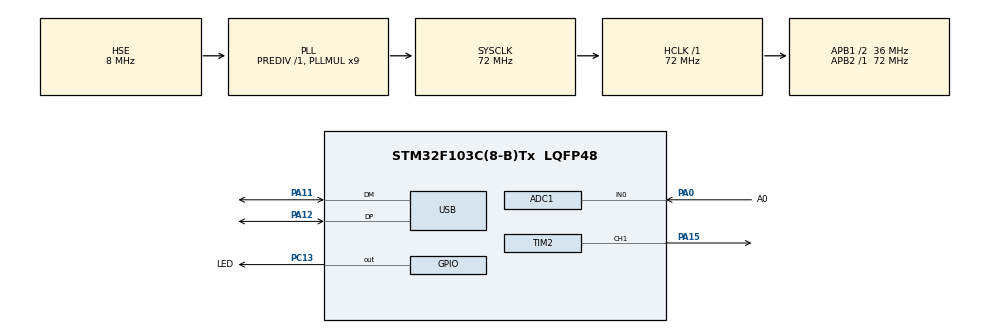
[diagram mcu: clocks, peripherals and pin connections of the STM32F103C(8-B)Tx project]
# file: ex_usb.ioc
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ADC1.Channel-0\#ChannelRegularConversion=ADC_CHANNEL_0
ADC1.NbrOfConversionFlag=1
ADC1.Rank-0\#ChannelRegularConversion=1
ADC1.SamplingTime-0\#ChannelRegularConversion=ADC_SAMPLETIME_1CYCLE_5
ADC1.master=1
Mcu.Family=STM32F1
Mcu.Name=STM32F103C(8-B)Tx
Mcu.Package=LQFP48
NVIC.PriorityGroup=NVIC_PRIORITYGROUP_4
NVIC.TIM3_IRQn=true\:0\:0\:false\:false\:true\:true\:true
NVIC.USB_LP_CAN1_RX0_IRQn=true\:0\:0\:false\:false\:true\:false\:true
PA0-WKUP.GPIO_Label=A0
PA0-WKUP.Signal=ADCx_IN0
PA11.Mode=Device
PA11.Signal=USB_DM
PA12.Mode=Device
PA12.Signal=USB_DP
PA13.Mode=Serial_Wire
PA13.Signal=SYS_JTMS-SWDIO
PA14.Mode=Serial_Wire
PA14.Signal=SYS_JTCK-SWCLK
PA15.Signal=S_TIM2_CH1_ETR
PC13-TAMPER-RTC.GPIO_Label=LED
PC13-TAMPER-RTC.Signal=GPIO_Output
PD0-OSC_IN.Mode=HSE-External-Oscillator
PD0-OSC_IN.Signal=RCC_OSC_IN
PD1-OSC_OUT.Mode=HSE-External-Oscillator
PD1-OSC_OUT.Signal=RCC_OSC_OUT
ProjectManager.HeapSize=0x200
ProjectManager.StackSize=0x400
ProjectManager.TargetToolchain=TrueSTUDIO
RCC.ADCPresc=RCC_ADCPCLK2_DIV6
RCC.AHBFreq_Value=72000000
RCC.APB1CLKDivider=RCC_HCLK_DIV2
RCC.APB1Freq_Value=36000000
RCC.APB1TimFreq_Value=72000000
RCC.APB2Freq_Value=72000000
RCC.APB2TimFreq_Value=72000000
RCC.HCLKFreq_Value=72000000
RCC.PLLMUL=RCC_PLL_MUL9
RCC.SYSCLKFreq_VALUE=72000000
RCC.SYSCLKSource=RCC_SYSCLKSOURCE_PLLCLK
RCC.USBFreq_Value=48000000
RCC.USBPrescaler=RCC_USBCLKSOURCE_PLL_DIV1_5
SH.ADCx_IN0.0=ADC1_IN0,IN0
SH.S_TIM2_CH1_ETR.0=TIM2_CH1,PWM Generation1 CH1
TIM2.Channel-PWM\ Generation1\ CH1=TIM_CHANNEL_1
TIM2.Period=9999
TIM2.Prescaler=71
TIM2.Pulse-PWM\ Generation1\ CH1=5000
TIM3.Period=9999
TIM3.Prescaler=71
USB_DEVICE.APP_RX_DATA_SIZE=1000
USB_DEVICE.APP_TX_DATA_SIZE=1000
USB_DEVICE.CLASS_NAME_FS=CDC
USB_DEVICE.VirtualMode=Cdc
USB_DEVICE.VirtualModeFS=Cdc_FS
VP_TIM2_VS_ClockSourceINT.Mode=Internal
VP_TIM3_VS_ClockSourceINT.Mode=Internal
VP_USB_DEVICE_VS_USB_DEVICE_CDC_FS.Mode=CDC_FS
board=ex_usb

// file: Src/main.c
/**
  ******************************************************************************
  * File Name          : main.c
  * Description        : Main program body
  ******************************************************************************
  * This notice applies to any and all portions of this file
  * that are not between comment pairs USER CODE BEGIN and
  * USER CODE END. Other portions of this file, whether
  * inserted by the user or by software development tools
  * are owned by their respective copyright owners.
  *
  * Copyright (c) 2019 STMicroelectronics International N.V.
  * All rights reserved.
  *
  * Redistribution and use in source and binary forms, with or without
  * modification, are permitted, provided that the following conditions are met:
  *
  * 1. Redistribution of source code must retain the above copyright notice,
  *    this list of conditions and the following disclaimer.
  * 2. Redistributions in binary form must reproduce the above copyright notice,
  *    this list of conditions and the following disclaimer in the documentation
  *    and/or other materials provided with the distribution.
  * 3. Neither the name of STMicroelectronics nor the names of other
  *    contributors to this software may be used to endorse or promote products
  *    derived from this software without specific written permission.
  * 4. This software, including modifications and/or derivative works of this
  *    software, must execute solely and exclusively on microcontroller or
  *    microprocessor devices manufactured by or for STMicroelectronics.
  * 5. Redistribution and use of this software other than as permitted under
  *    this license is void and will automatically terminate your rights under
  *    this license.
  *
  * THIS SOFTWARE IS PROVIDED BY STMICROELECTRONICS AND CONTRIBUTORS "AS IS"
  * AND ANY EXPRESS, IMPLIED OR STATUTORY WARRANTIES, INCLUDING, BUT NOT
  * LIMITED TO, THE IMPLIED WARRANTIES OF MERCHANTABILITY, FITNESS FOR A
  * PARTICULAR PURPOSE AND NON-INFRINGEMENT OF THIRD PARTY INTELLECTUAL PROPERTY
  * RIGHTS ARE DISCLAIMED TO THE FULLEST EXTENT PERMITTED BY LAW. IN NO EVENT
  * SHALL STMICROELECTRONICS OR CONTRIBUTORS BE LIABLE FOR ANY DIRECT, INDIRECT,
  * INCIDENTAL, SPECIAL, EXEMPLARY, OR CONSEQUENTIAL DAMAGES (INCLUDING, BUT NOT
  * LIMITED TO, PROCUREMENT OF SUBSTITUTE GOODS OR SERVICES; LOSS OF USE, DATA,
  * OR PROFITS; OR BUSINESS INTERRUPTION) HOWEVER CAUSED AND ON ANY THEORY OF
  * LIABILITY, WHETHER IN CONTRACT, STRICT LIABILITY, OR TORT (INCLUDING
  * NEGLIGENCE OR OTHERWISE) ARISING IN ANY WAY OUT OF THE USE OF THIS SOFTWARE,
  * EVEN IF ADVISED OF THE POSSIBILITY OF SUCH DAMAGE.
  *
  ******************************************************************************
  */

#include "main.h"
#include "stm32f1xx_hal.h"
#include "usb_device.h"

/* USER CODE BEGIN Includes */
//library required for handling the functions related to operations of
//writing to and reading from the USB
#include "usbd_cdc_if.h"
/* USER CODE END Includes */

ADC_HandleTypeDef hadc1;

TIM_HandleTypeDef htim2;
TIM_HandleTypeDef htim3;

/* USER CODE BEGIN PV */

/* Private variables ---------------------------------------------------------*/
float prevDC = 0; //variable that stores the previous duty cycle value
uint16_t adcValue = 0;
uint8_t ledFlag = 0;
/* USER CODE END PV */

void SystemClock_Config(void);
static void MX_GPIO_Init(void);
static void MX_ADC1_Init(void);
static void MX_TIM2_Init(void);
static void MX_TIM3_Init(void);

void HAL_TIM_MspPostInit(TIM_HandleTypeDef *htim);

/* USER CODE BEGIN PFP */
//void read_adc()
//{
//	if(ledFlag == 0)
//	{
//		HAL_GPIO_WritePin(LED_GPIO_Port, LED_Pin, GPIO_PIN_RESET);
//		ledFlag = 1;
//	}
//	else
//	{
//		HAL_GPIO_WritePin(LED_GPIO_Port, LED_Pin, GPIO_PIN_SET);
//		ledFlag = 0;
//	}
//	//this function is called whenever there is an interrupt fired by TIMER3
//	//reading the potentiometer
//	HAL_ADC_Start(&hadc1);
//	if(HAL_ADC_PollForConversion(&hadc1,10) == HAL_OK)
//	{
//		adcValue = HAL_ADC_GetValue(&hadc1);
//	}
//	//convert the output of the potentiometer to the duty cycle
//	float percent = (adcValue / 4096.0); // percent
//	uint16_t dutyCycle = (uint16_t)(percent * 10000); // 10000 -> counter period
//	//configure the pwm again
//	// the duty is updated only if the current value of dutycycle
//	//varies more then 10%
//	if(percent >- prevDC + 0.1 || percent <= prevDC - 0.1)
//	{
//		  HAL_TIM_PWM_Stop(&htim2, TIM_CHANNEL_1); //stops the pwm
//
//		  TIM_OC_InitTypeDef sConfigOC = {0};
//		  sConfigOC.OCMode = TIM_OCMODE_PWM1;
//		  sConfigOC.Pulse = dutyCycle; //set the dute cycle based in pwm
//		  sConfigOC.OCPolarity = TIM_OCPOLARITY_HIGH;
//		  sConfigOC.OCFastMode = TIM_OCFAST_DISABLE;
//
//
//		 if (HAL_TIM_PWM_ConfigChannel(&htim2, &sConfigOC, TIM_CHANNEL_1) != HAL_OK)
//		 {
//		    _Error_Handler(__FILE__, __LINE__);
//		 }
//
//		 HAL_TIM_PWM_Start(&htim2, TIM_CHANNEL_1);
//	}
//}
/* Private function prototypes -----------------------------------------------*/

/* USER CODE END PFP */

int main(void)
{

  /* MCU Configuration----------------------------------------------------------*/

  /* Reset of all peripherals, Initializes the Flash interface and the Systick. */
  HAL_Init();

  /* Configure the system clock */
  SystemClock_Config();

  /* Initialize all configured peripherals */
  MX_GPIO_Init();
  MX_USB_DEVICE_Init();
  MX_ADC1_Init();
  MX_TIM2_Init();
  MX_TIM3_Init();

  /* USER CODE BEGIN 2 */
  HAL_TIM_Base_Start(&htim2); //enables the timer
  HAL_TIM_PWM_Init(&htim2); //enables the pwm
  HAL_TIM_PWM_Start(&htim2, TIM_CHANNEL_1); //starts the pwm
  /* USER CODE END 2 */

  /* Infinite loop */
  while (1)
  {

  /* USER CODE BEGIN 3 */

	  //1) read ADC
	  uint16_t adcValue = 0;
	  //1.1) Start the adc
	  HAL_ADC_Start(&hadc1);
	  //1.2) wait for conversion
	  if(HAL_ADC_PollForConversion(&hadc1,1000) == HAL_OK)
	  {
		  //1.3) read the value from the adc
		  adcValue = HAL_ADC_GetValue(&hadc1);
	  }

	  //2) send via USB
	  uint8_t usbv[4] = {36, 0, 0, 10};
	  usbv[1] = adcValue >> 8; // MSB: Shift the bits 8 times to the right (joga para direita para garantir que a vari�vel tenha somente 8 bits) 000000000 00000000
	  usbv[2] = adcValue & 0xFF; //LSB: AND operation with 255 00000000 11111111
	  CDC_Transmit_FS(usbv, 4);

	  //4) wait for some time
	  HAL_Delay(10);
  }
  /* USER CODE END 3 */

}

/** System Clock Configuration
*/
void SystemClock_Config(void)
{

  RCC_OscInitTypeDef RCC_OscInitStruct;
  RCC_ClkInitTypeDef RCC_ClkInitStruct;
  RCC_PeriphCLKInitTypeDef PeriphClkInit;

    /**Initializes the CPU, AHB and APB busses clocks
    */
  RCC_OscInitStruct.OscillatorType = RCC_OSCILLATORTYPE_HSE;
  RCC_OscInitStruct.HSEState = RCC_HSE_ON;
  RCC_OscInitStruct.HSEPredivValue = RCC_HSE_PREDIV_DIV1;
  RCC_OscInitStruct.HSIState = RCC_HSI_ON;
  RCC_OscInitStruct.PLL.PLLState = RCC_PLL_ON;
  RCC_OscInitStruct.PLL.PLLSource = RCC_PLLSOURCE_HSE;
  RCC_OscInitStruct.PLL.PLLMUL = RCC_PLL_MUL9;
  if (HAL_RCC_OscConfig(&RCC_OscInitStruct) != HAL_OK)
  {
    _Error_Handler(__FILE__, __LINE__);
  }

    /**Initializes the CPU, AHB and APB busses clocks
    */
  RCC_ClkInitStruct.ClockType = RCC_CLOCKTYPE_HCLK|RCC_CLOCKTYPE_SYSCLK
                              |RCC_CLOCKTYPE_PCLK1|RCC_CLOCKTYPE_PCLK2;
  RCC_ClkInitStruct.SYSCLKSource = RCC_SYSCLKSOURCE_PLLCLK;
  RCC_ClkInitStruct.AHBCLKDivider = RCC_SYSCLK_DIV1;
  RCC_ClkInitStruct.APB1CLKDivider = RCC_HCLK_DIV2;
  RCC_ClkInitStruct.APB2CLKDivider = RCC_HCLK_DIV1;

  if (HAL_RCC_ClockConfig(&RCC_ClkInitStruct, FLASH_LATENCY_2) != HAL_OK)
  {
    _Error_Handler(__FILE__, __LINE__);
  }

  PeriphClkInit.PeriphClockSelection = RCC_PERIPHCLK_ADC|RCC_PERIPHCLK_USB;
  PeriphClkInit.AdcClockSelection = RCC_ADCPCLK2_DIV6;
  PeriphClkInit.UsbClockSelection = RCC_USBCLKSOURCE_PLL_DIV1_5;
  if (HAL_RCCEx_PeriphCLKConfig(&PeriphClkInit) != HAL_OK)
  {
    _Error_Handler(__FILE__, __LINE__);
  }

    /**Configure the Systick interrupt time
    */
  HAL_SYSTICK_Config(HAL_RCC_GetHCLKFreq()/1000);

    /**Configure the Systick
    */
  HAL_SYSTICK_CLKSourceConfig(SYSTICK_CLKSOURCE_HCLK);

  /* SysTick_IRQn interrupt configuration */
  HAL_NVIC_SetPriority(SysTick_IRQn, 0, 0);
}

/* ADC1 init function */
static void MX_ADC1_Init(void)
{

  ADC_ChannelConfTypeDef sConfig;

    /**Common config
    */
  hadc1.Instance = ADC1;
  hadc1.Init.ScanConvMode = ADC_SCAN_DISABLE;
  hadc1.Init.ContinuousConvMode = DISABLE;
  hadc1.Init.DiscontinuousConvMode = DISABLE;
  hadc1.Init.ExternalTrigConv = ADC_SOFTWARE_START;
  hadc1.Init.DataAlign = ADC_DATAALIGN_RIGHT;
  hadc1.Init.NbrOfConversion = 1;
  if (HAL_ADC_Init(&hadc1) != HAL_OK)
  {
    _Error_Handler(__FILE__, __LINE__);
  }

    /**Configure Regular Channel
    */
  sConfig.Channel = ADC_CHANNEL_0;
  sConfig.Rank = 1;
  sConfig.SamplingTime = ADC_SAMPLETIME_1CYCLE_5;
  if (HAL_ADC_ConfigChannel(&hadc1, &sConfig) != HAL_OK)
  {
    _Error_Handler(__FILE__, __LINE__);
  }

}

/* TIM2 init function */
static void MX_TIM2_Init(void)
{

  TIM_ClockConfigTypeDef sClockSourceConfig;
  TIM_MasterConfigTypeDef sMasterConfig;
  TIM_OC_InitTypeDef sConfigOC;

  htim2.Instance = TIM2;
  htim2.Init.Prescaler = 71;
  htim2.Init.CounterMode = TIM_COUNTERMODE_UP;
  htim2.Init.Period = 9999;
  htim2.Init.ClockDivision = TIM_CLOCKDIVISION_DIV1;
  htim2.Init.AutoReloadPreload = TIM_AUTORELOAD_PRELOAD_DISABLE;
  if (HAL_TIM_Base_Init(&htim2) != HAL_OK)
  {
    _Error_Handler(__FILE__, __LINE__);
  }

  sClockSourceConfig.ClockSource = TIM_CLOCKSOURCE_INTERNAL;
  if (HAL_TIM_ConfigClockSource(&htim2, &sClockSourceConfig) != HAL_OK)
  {
    _Error_Handler(__FILE__, __LINE__);
  }

  if (HAL_TIM_PWM_Init(&htim2) != HAL_OK)
  {
    _Error_Handler(__FILE__, __LINE__);
  }

  sMasterConfig.MasterOutputTrigger = TIM_TRGO_RESET;
  sMasterConfig.MasterSlaveMode = TIM_MASTERSLAVEMODE_DISABLE;
  if (HAL_TIMEx_MasterConfigSynchronization(&htim2, &sMasterConfig) != HAL_OK)
  {
    _Error_Handler(__FILE__, __LINE__);
  }

  sConfigOC.OCMode = TIM_OCMODE_PWM1;
  sConfigOC.Pulse = 5000;
  sConfigOC.OCPolarity = TIM_OCPOLARITY_HIGH;
  sConfigOC.OCFastMode = TIM_OCFAST_DISABLE;
  if (HAL_TIM_PWM_ConfigChannel(&htim2, &sConfigOC, TIM_CHANNEL_1) != HAL_OK)
  {
    _Error_Handler(__FILE__, __LINE__);
  }

  HAL_TIM_MspPostInit(&htim2);

}

/* TIM3 init function */
static void MX_TIM3_Init(void)
{

  TIM_ClockConfigTypeDef sClockSourceConfig;
  TIM_MasterConfigTypeDef sMasterConfig;

  htim3.Instance = TIM3;
  htim3.Init.Prescaler = 71;
  htim3.Init.CounterMode = TIM_COUNTERMODE_UP;
  htim3.Init.Period = 9999;
  htim3.Init.ClockDivision = TIM_CLOCKDIVISION_DIV1;
  htim3.Init.AutoReloadPreload = TIM_AUTORELOAD_PRELOAD_DISABLE;
  if (HAL_TIM_Base_Init(&htim3) != HAL_OK)
  {
    _Error_Handler(__FILE__, __LINE__);
  }

  sClockSourceConfig.ClockSource = TIM_CLOCKSOURCE_INTERNAL;
  if (HAL_TIM_ConfigClockSource(&htim3, &sClockSourceConfig) != HAL_OK)
  {
    _Error_Handler(__FILE__, __LINE__);
  }

  sMasterConfig.MasterOutputTrigger = TIM_TRGO_RESET;
  sMasterConfig.MasterSlaveMode = TIM_MASTERSLAVEMODE_DISABLE;
  if (HAL_TIMEx_MasterConfigSynchronization(&htim3, &sMasterConfig) != HAL_OK)
  {
    _Error_Handler(__FILE__, __LINE__);
  }

}

/** Configure pins as
        * Analog
        * Input
        * Output
        * EVENT_OUT
        * EXTI
*/
static void MX_GPIO_Init(void)
{

  GPIO_InitTypeDef GPIO_InitStruct;

  /* GPIO Ports Clock Enable */
  __HAL_RCC_GPIOC_CLK_ENABLE();
  __HAL_RCC_GPIOD_CLK_ENABLE();
  __HAL_RCC_GPIOA_CLK_ENABLE();

  /*Configure GPIO pin Output Level */
  HAL_GPIO_WritePin(LED_GPIO_Port, LED_Pin, GPIO_PIN_RESET);

  /*Configure GPIO pin : LED_Pin */
  GPIO_InitStruct.Pin = LED_Pin;
  GPIO_InitStruct.Mode = GPIO_MODE_OUTPUT_PP;
  GPIO_InitStruct.Speed = GPIO_SPEED_FREQ_LOW;
  HAL_GPIO_Init(LED_GPIO_Port, &GPIO_InitStruct);

}

void _Error_Handler(char * file, int line)
{
  while(1)
  {
  }
}

/************************ (C) COPYRIGHT STMicroelectronics *****END OF FILE****/
